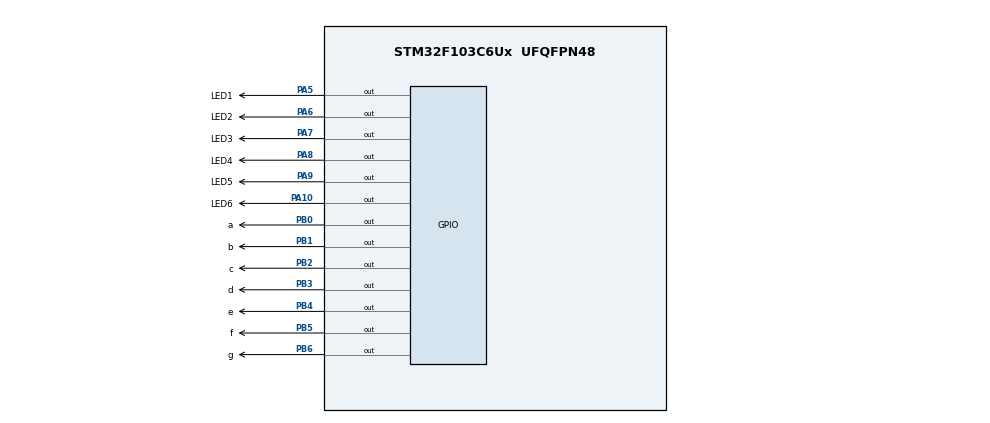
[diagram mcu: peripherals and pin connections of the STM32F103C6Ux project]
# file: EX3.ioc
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Mcu.Family=STM32F1
Mcu.Name=STM32F103C6Ux
Mcu.Package=UFQFPN48
NVIC.PriorityGroup=NVIC_PRIORITYGROUP_4
PA10.GPIO_Label=LED6
PA10.Signal=GPIO_Output
PA5.GPIO_Label=LED1
PA5.Signal=GPIO_Output
PA6.GPIO_Label=LED2
PA6.Signal=GPIO_Output
PA7.GPIO_Label=LED3
PA7.Signal=GPIO_Output
PA8.GPIO_Label=LED4
PA8.Signal=GPIO_Output
PA9.GPIO_Label=LED5
PA9.Signal=GPIO_Output
PB0.GPIO_Label=a
PB0.Signal=GPIO_Output
PB1.GPIO_Label=b
PB1.Signal=GPIO_Output
PB2.GPIO_Label=c
PB2.Signal=GPIO_Output
PB3.GPIO_Label=d
PB3.Signal=GPIO_Output
PB4.GPIO_Label=e
PB4.Signal=GPIO_Output
PB5.GPIO_Label=f
PB5.Signal=GPIO_Output
PB6.GPIO_Label=g
PB6.Signal=GPIO_Output
ProjectManager.HeapSize=0x200
ProjectManager.StackSize=0x400
ProjectManager.TargetToolchain=STM32CubeIDE
RCC.APB1Freq_Value=8000000
RCC.APB2Freq_Value=8000000
VP_SYS_VS_ND.Mode=No_Debug
board=custom

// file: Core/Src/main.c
/* USER CODE BEGIN Header */
/**
  ******************************************************************************
  * @file           : main.c
  * @brief          : Main program body
  ******************************************************************************
  * @attention
  *
  * <h2><center>&copy; Copyright (c) 2025 STMicroelectronics.
  * All rights reserved.</center></h2>
  *
  * This software component is licensed by ST under BSD 3-Clause license,
  * the "License"; You may not use this file except in compliance with the
  * License. You may obtain a copy of the License at:
  *                        opensource.org/licenses/BSD-3-Clause
  *
  ******************************************************************************
  */
/* USER CODE END Header */
#include "main.h"

void SystemClock_Config(void);
static void MX_GPIO_Init(void);

void  display7SEG(int num);
int main(void)
{

  /* MCU Configuration--------------------------------------------------------*/

  /* Reset of all peripherals, Initializes the Flash interface and the Systick. */
  HAL_Init();

  /* Configure the system clock */
  SystemClock_Config();

  /* Initialize all configured peripherals */
  MX_GPIO_Init();

  /* Infinite loop */
  /* USER CODE BEGIN WHILE */
  while (1)
  {
	   HAL_GPIO_WritePin(LED1_GPIO_Port, LED1_Pin, GPIO_PIN_RESET); // N–S đỏ
	    HAL_GPIO_WritePin(LED2_GPIO_Port, LED2_Pin, GPIO_PIN_SET);   // N–S vàng OFF
	    HAL_GPIO_WritePin(LED3_GPIO_Port, LED3_Pin, GPIO_PIN_SET);   // N–S xanh OFF

	    HAL_GPIO_WritePin(LED4_GPIO_Port, LED4_Pin, GPIO_PIN_SET);   // E–W đỏ OFF
	    HAL_GPIO_WritePin(LED5_GPIO_Port, LED5_Pin, GPIO_PIN_SET);   // E–W vàng OFF
	    HAL_GPIO_WritePin(LED6_GPIO_Port, LED6_Pin, GPIO_PIN_RESET); // E–W xanh ON

	    for(int i=5; i>2; i--){
	        display7SEG(i);
	        HAL_Delay(1000);
	    }

	    // Pha 2: Đông–Tây vàng (2s), Nam–Bắc vẫn đỏ
	    HAL_GPIO_WritePin(LED6_GPIO_Port, LED6_Pin, GPIO_PIN_SET);   // E–W xanh OFF
	    HAL_GPIO_WritePin(LED5_GPIO_Port, LED5_Pin, GPIO_PIN_RESET); // E–W vàng ON
	    for(int i=2; i>0; i--){
	        display7SEG(i);
	        HAL_Delay(1000);
	    }

	    // Pha 3: Đông–Tây đỏ (3s), Nam–Bắc xanh
	    HAL_GPIO_WritePin(LED4_GPIO_Port, LED4_Pin, GPIO_PIN_RESET); // E–W đỏ ON
	    HAL_GPIO_WritePin(LED5_GPIO_Port, LED5_Pin, GPIO_PIN_SET);   // E–W vàng OFF
	    HAL_GPIO_WritePin(LED6_GPIO_Port, LED6_Pin, GPIO_PIN_SET);   // E–W xanh OFF

	    HAL_GPIO_WritePin(LED1_GPIO_Port, LED1_Pin, GPIO_PIN_SET);   // N–S đỏ OFF
	    HAL_GPIO_WritePin(LED2_GPIO_Port, LED2_Pin, GPIO_PIN_SET);   // N–S vàng OFF
	    HAL_GPIO_WritePin(LED3_GPIO_Port, LED3_Pin, GPIO_PIN_RESET); // N–S xanh ON

	    for(int i=3; i>0; i--){
	        display7SEG(i);
	        HAL_Delay(1000);
	    }

	    // Pha 4: Nam–Bắc vàng (2s), Đông–Tây vẫn đỏ
	    HAL_GPIO_WritePin(LED3_GPIO_Port, LED3_Pin, GPIO_PIN_SET);   // N–S xanh OFF
	    HAL_GPIO_WritePin(LED2_GPIO_Port, LED2_Pin, GPIO_PIN_RESET); // N–S vàng ON
	    for(int i=2; i>0; i--){
	        display7SEG(i);
	        HAL_Delay(1000);
	    }
    /* USER CODE END WHILE */

  }
}

void SystemClock_Config(void)
{
  RCC_OscInitTypeDef RCC_OscInitStruct = {0};
  RCC_ClkInitTypeDef RCC_ClkInitStruct = {0};

  /** Initializes the RCC Oscillators according to the specified parameters
  * in the RCC_OscInitTypeDef structure.
  */
  RCC_OscInitStruct.OscillatorType = RCC_OSCILLATORTYPE_HSI;
  RCC_OscInitStruct.HSIState = RCC_HSI_ON;
  RCC_OscInitStruct.HSICalibrationValue = RCC_HSICALIBRATION_DEFAULT;
  RCC_OscInitStruct.PLL.PLLState = RCC_PLL_NONE;
  if (HAL_RCC_OscConfig(&RCC_OscInitStruct) != HAL_OK)
  {
    Error_Handler();
  }
  /** Initializes the CPU, AHB and APB buses clocks
  */
  RCC_ClkInitStruct.ClockType = RCC_CLOCKTYPE_HCLK|RCC_CLOCKTYPE_SYSCLK
                              |RCC_CLOCKTYPE_PCLK1|RCC_CLOCKTYPE_PCLK2;
  RCC_ClkInitStruct.SYSCLKSource = RCC_SYSCLKSOURCE_HSI;
  RCC_ClkInitStruct.AHBCLKDivider = RCC_SYSCLK_DIV1;
  RCC_ClkInitStruct.APB1CLKDivider = RCC_HCLK_DIV1;
  RCC_ClkInitStruct.APB2CLKDivider = RCC_HCLK_DIV1;

  if (HAL_RCC_ClockConfig(&RCC_ClkInitStruct, FLASH_LATENCY_0) != HAL_OK)
  {
    Error_Handler();
  }
}

static void MX_GPIO_Init(void)
{
  GPIO_InitTypeDef GPIO_InitStruct = {0};

  /* GPIO Ports Clock Enable */
  __HAL_RCC_GPIOA_CLK_ENABLE();
  __HAL_RCC_GPIOB_CLK_ENABLE();

  /*Configure GPIO pin Output Level */
  HAL_GPIO_WritePin(GPIOA, LED1_Pin|LED2_Pin|LED3_Pin|LED4_Pin
                          |LED5_Pin|LED6_Pin, GPIO_PIN_RESET);

  /*Configure GPIO pin Output Level */
  HAL_GPIO_WritePin(GPIOB, a_Pin|b_Pin|c_Pin|d_Pin
                          |e_Pin|f_Pin|g_Pin, GPIO_PIN_RESET);

  /*Configure GPIO pins : LED1_Pin LED2_Pin LED3_Pin LED4_Pin
                           LED5_Pin LED6_Pin */
  GPIO_InitStruct.Pin = LED1_Pin|LED2_Pin|LED3_Pin|LED4_Pin
                          |LED5_Pin|LED6_Pin;
  GPIO_InitStruct.Mode = GPIO_MODE_OUTPUT_PP;
  GPIO_InitStruct.Pull = GPIO_NOPULL;
  GPIO_InitStruct.Speed = GPIO_SPEED_FREQ_LOW;
  HAL_GPIO_Init(GPIOA, &GPIO_InitStruct);

  /*Configure GPIO pins : a_Pin b_Pin c_Pin d_Pin
                           e_Pin f_Pin g_Pin */
  GPIO_InitStruct.Pin = a_Pin|b_Pin|c_Pin|d_Pin
                          |e_Pin|f_Pin|g_Pin;
  GPIO_InitStruct.Mode = GPIO_MODE_OUTPUT_PP;
  GPIO_InitStruct.Pull = GPIO_NOPULL;
  GPIO_InitStruct.Speed = GPIO_SPEED_FREQ_LOW;
  HAL_GPIO_Init(GPIOB, &GPIO_InitStruct);

}

void display7SEG(int num){

	  if (num < 0 || num > 9) return;

	    // Tắt hết các segment trước
	    HAL_GPIO_WritePin(a_GPIO_Port, a_Pin, GPIO_PIN_SET);
	    HAL_GPIO_WritePin(b_GPIO_Port, b_Pin, GPIO_PIN_SET);
	    HAL_GPIO_WritePin(c_GPIO_Port, c_Pin, GPIO_PIN_SET);
	    HAL_GPIO_WritePin(d_GPIO_Port, d_Pin, GPIO_PIN_SET);
	    HAL_GPIO_WritePin(e_GPIO_Port, e_Pin, GPIO_PIN_SET);
	    HAL_GPIO_WritePin(f_GPIO_Port, f_Pin, GPIO_PIN_SET);
	    HAL_GPIO_WritePin(g_GPIO_Port, g_Pin, GPIO_PIN_SET);

	    switch (num) {
	    case 0: // a b c d e f
	        HAL_GPIO_WritePin(a_GPIO_Port, a_Pin, GPIO_PIN_RESET);
	        HAL_GPIO_WritePin(b_GPIO_Port, b_Pin, GPIO_PIN_RESET);
	        HAL_GPIO_WritePin(c_GPIO_Port, c_Pin, GPIO_PIN_RESET);
	        HAL_GPIO_WritePin(d_GPIO_Port, d_Pin, GPIO_PIN_RESET);
	        HAL_GPIO_WritePin(e_GPIO_Port, e_Pin, GPIO_PIN_RESET);
	        HAL_GPIO_WritePin(f_GPIO_Port, f_Pin, GPIO_PIN_RESET);
	        break;

	    case 1: // b c
	        HAL_GPIO_WritePin(b_GPIO_Port, b_Pin, GPIO_PIN_RESET);
	        HAL_GPIO_WritePin(c_GPIO_Port, c_Pin, GPIO_PIN_RESET);
	        break;

	    case 2: // a b d e g
	        HAL_GPIO_WritePin(a_GPIO_Port, a_Pin, GPIO_PIN_RESET);
	        HAL_GPIO_WritePin(b_GPIO_Port, b_Pin, GPIO_PIN_RESET);
	        HAL_GPIO_WritePin(d_GPIO_Port, d_Pin, GPIO_PIN_RESET);
	        HAL_GPIO_WritePin(e_GPIO_Port, e_Pin, GPIO_PIN_RESET);
	        HAL_GPIO_WritePin(g_GPIO_Port, g_Pin, GPIO_PIN_RESET);
	        break;

	    case 3: // a b c d g
	        HAL_GPIO_WritePin(a_GPIO_Port, a_Pin, GPIO_PIN_RESET);
	        HAL_GPIO_WritePin(b_GPIO_Port, b_Pin, GPIO_PIN_RESET);
	        HAL_GPIO_WritePin(c_GPIO_Port, c_Pin, GPIO_PIN_RESET);
	        HAL_GPIO_WritePin(d_GPIO_Port, d_Pin, GPIO_PIN_RESET);
	        HAL_GPIO_WritePin(g_GPIO_Port, g_Pin, GPIO_PIN_RESET);
	        break;

	    case 4: // b c f g
	        HAL_GPIO_WritePin(b_GPIO_Port, b_Pin, GPIO_PIN_RESET);
	        HAL_GPIO_WritePin(c_GPIO_Port, c_Pin, GPIO_PIN_RESET);
	        HAL_GPIO_WritePin(f_GPIO_Port, f_Pin, GPIO_PIN_RESET);
	        HAL_GPIO_WritePin(g_GPIO_Port, g_Pin, GPIO_PIN_RESET);
	        break;

	    case 5: // a c d f g
	        HAL_GPIO_WritePin(a_GPIO_Port, a_Pin, GPIO_PIN_RESET);
	        HAL_GPIO_WritePin(c_GPIO_Port, c_Pin, GPIO_PIN_RESET);
	        HAL_GPIO_WritePin(d_GPIO_Port, d_Pin, GPIO_PIN_RESET);
	        HAL_GPIO_WritePin(f_GPIO_Port, f_Pin, GPIO_PIN_RESET);
	        HAL_GPIO_WritePin(g_GPIO_Port, g_Pin, GPIO_PIN_RESET);
	        break;

	    case 6: // a c d e f g
	        HAL_GPIO_WritePin(a_GPIO_Port, a_Pin, GPIO_PIN_RESET);
	        HAL_GPIO_WritePin(c_GPIO_Port, c_Pin, GPIO_PIN_RESET);
	        HAL_GPIO_WritePin(d_GPIO_Port, d_Pin, GPIO_PIN_RESET);
	        HAL_GPIO_WritePin(e_GPIO_Port, e_Pin, GPIO_PIN_RESET);
	        HAL_GPIO_WritePin(f_GPIO_Port, f_Pin, GPIO_PIN_RESET);
	        HAL_GPIO_WritePin(g_GPIO_Port, g_Pin, GPIO_PIN_RESET);
	        break;

	    case 7: // a b c
	        HAL_GPIO_WritePin(a_GPIO_Port, a_Pin, GPIO_PIN_RESET);
	        HAL_GPIO_WritePin(b_GPIO_Port, b_Pin, GPIO_PIN_RESET);
	        HAL_GPIO_WritePin(c_GPIO_Port, c_Pin, GPIO_PIN_RESET);
	        break;

	    case 8: // a b c d e f g
	        HAL_GPIO_WritePin(a_GPIO_Port, a_Pin, GPIO_PIN_RESET);
	        HAL_GPIO_WritePin(b_GPIO_Port, b_Pin, GPIO_PIN_RESET);
	        HAL_GPIO_WritePin(c_GPIO_Port, c_Pin, GPIO_PIN_RESET);
	        HAL_GPIO_WritePin(d_GPIO_Port, d_Pin, GPIO_PIN_RESET);
	        HAL_GPIO_WritePin(e_GPIO_Port, e_Pin, GPIO_PIN_RESET);
	        HAL_GPIO_WritePin(f_GPIO_Port, f_Pin, GPIO_PIN_RESET);
	        HAL_GPIO_WritePin(g_GPIO_Port, g_Pin, GPIO_PIN_RESET);
	        break;

	    case 9: // a b c d f g
	        HAL_GPIO_WritePin(a_GPIO_Port, a_Pin, GPIO_PIN_RESET);
	        HAL_GPIO_WritePin(b_GPIO_Port, b_Pin, GPIO_PIN_RESET);
	        HAL_GPIO_WritePin(c_GPIO_Port, c_Pin, GPIO_PIN_RESET);
	        HAL_GPIO_WritePin(d_GPIO_Port, d_Pin, GPIO_PIN_RESET);
	        HAL_GPIO_WritePin(f_GPIO_Port, f_Pin, GPIO_PIN_RESET);
	        HAL_GPIO_WritePin(g_GPIO_Port, g_Pin, GPIO_PIN_RESET);
	        break;

	    default:
	        break;
	    }

}
void Error_Handler(void)
{
  __disable_irq();
  while (1)
  {
  }
}

/************************ (C) COPYRIGHT STMicroelectronics *****END OF FILE****/
